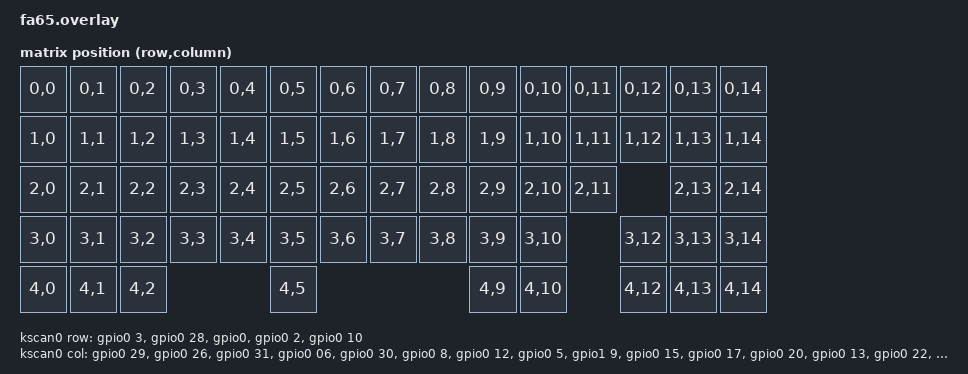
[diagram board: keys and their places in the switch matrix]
/*
 * Copyright (c) 2020 The ZMK Contributors
 *
 * SPDX-License-Identifier: MIT
 */

#include <dt-bindings/zmk/matrix_transform.h>

/ {
	chosen {
		zmk,kscan = &kscan0;
		zmk,matrix_transform = &default_transform;
	};

	kscan0: kscan {
		compatible = "zmk,kscan-gpio-matrix";
		label = "KSCAN";

		diode-direction = "col2row";
		row-gpios
			= <&gpio0  3 (GPIO_ACTIVE_HIGH | GPIO_PULL_DOWN)>
			, <&gpio0 28 (GPIO_ACTIVE_HIGH | GPIO_PULL_DOWN)>
			, <&gpio0  9(GPIO_ACTIVE_HIGH | GPIO_PULL_DOWN)>
			, <&gpio0  2 (GPIO_ACTIVE_HIGH | GPIO_PULL_DOWN)>
			, <&gpio0 10 (GPIO_ACTIVE_HIGH | GPIO_PULL_DOWN)>
			;
		col-gpios
			= <&gpio0 29 GPIO_ACTIVE_HIGH>
			, <&gpio0 26 GPIO_ACTIVE_HIGH>
			, <&gpio0 31 GPIO_ACTIVE_HIGH>
			, <&gpio0 06 GPIO_ACTIVE_HIGH>
			, <&gpio0 30 GPIO_ACTIVE_HIGH>
			, <&gpio0 8  GPIO_ACTIVE_HIGH>
			, <&gpio0 12 GPIO_ACTIVE_HIGH>
			, <&gpio0 5  GPIO_ACTIVE_HIGH>
			, <&gpio1 9  GPIO_ACTIVE_HIGH>
			, <&gpio0 15 GPIO_ACTIVE_HIGH>
			, <&gpio0 17 GPIO_ACTIVE_HIGH>
			, <&gpio0 20 GPIO_ACTIVE_HIGH>
			, <&gpio0 13 GPIO_ACTIVE_HIGH>
			, <&gpio0 22 GPIO_ACTIVE_HIGH>
			, <&gpio0 24 GPIO_ACTIVE_HIGH>
			;
	};

	default_transform: keymap_transform_0 {
		compatible = "zmk,matrix-transform";
		columns = <15>;
		rows = <5>;
        map = <
RC(0,0) RC(0,1) RC(0,2) RC(0,3) RC(0,4) RC(0,5) RC(0,6) RC(0,7) RC(0,8) RC(0,9) RC(0,10) RC(0,11) RC(0,12) RC(0,13) RC(0,14)    
RC(1,0) RC(1,1) RC(1,2) RC(1,3) RC(1,4) RC(1,5) RC(1,6) RC(1,7) RC(1,8) RC(1,9) RC(1,10) RC(1,11) RC(1,12) RC(1,13) RC(1,14)   
RC(2,0) RC(2,1) RC(2,2) RC(2,3) RC(2,4) RC(2,5) RC(2,6) RC(2,7) RC(2,8) RC(2,9) RC(2,10) RC(2,11)          RC(2,13) RC(2,14) 
RC(3,0) RC(3,1) RC(3,2) RC(3,3) RC(3,4) RC(3,5) RC(3,6) RC(3,7) RC(3,8) RC(3,9) RC(3,10)          RC(3,12) RC(3,13) RC(3,14)
RC(4,0) RC(4,1) RC(4,2)                 RC(4,5)                         RC(4,9) RC(4,10)          RC(4,12) RC(4,13) RC(4,14)        
		>;
	};
};

